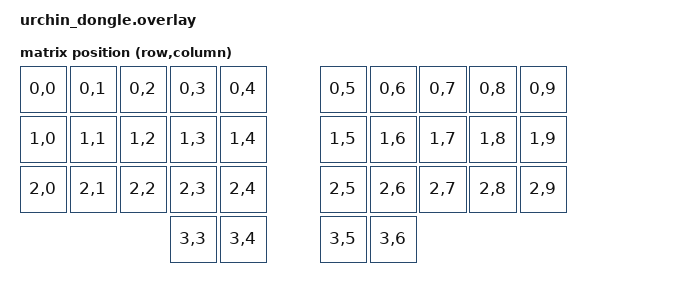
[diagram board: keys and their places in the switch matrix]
#include <dt-bindings/zmk/matrix_transform.h>
#include <physical_layouts.dtsi>

/ {
    chosen {
        zmk,kscan = &mock_kscan;
        zmk,physical-layout = &physical_layout0; // New item added
    };

    mock_kscan: mock_kscan_0 {
        compatible = "zmk,kscan-mock";
        columns = <0>;
        rows = <0>;
        events = <0>;
    };

    // --- START OF NEW CODE FOR POOR MAN'S LED INDICATOR ---
    leds {
        compatible = "gpio-leds";
        user_led: led_0 {
            // This is the pin that the indicator library will toggle.
            gpios = <&gpio0 15 GPIO_ACTIVE_HIGH>;
            label = "User LED";
        };
    };

    aliases {
        // This is the specific alias the indicator code looks for.
        indicator-led = &user_led;
    };
    // --- END OF NEW CODE ---

    default_transform: keymap_transform_0 {
        compatible = "zmk,matrix-transform";
        columns = <10>;
        rows = <4>;

        map = <
            RC(0,0)     RC(0,1)     RC(0,2)     RC(0,3)     RC(0,4)             RC(0,5)     RC(0,6)     RC(0,7)     RC(0,8 )     RC(0,9)
            RC(1,0)     RC(1,1)     RC(1,2)     RC(1,3)     RC(1,4)             RC(1,5)     RC(1,6)     RC(1,7)     RC(1,8)     RC(1,9)
            RC(2,0)     RC(2,1)     RC(2,2)     RC(2,3)     RC(2,4)             RC(2,5)     RC(2,6)     RC(2,7)     RC(2,8)     RC(2,9)
                                                            RC(3,3)     RC(3,4)             RC(3,5)     RC(3,6)
        >;
    };

    physical_layout0: physical_layout_0 {
        compatible = "zmk,physical-layout";
        display-name = "Default Layout";
        transform = <&default_transform>;

        keys    //                  w   h    x    y      rot    rx    ry
            = <&key_physical_attrs 100 100    0   95        0      0      0>
            , <&key_physical_attrs 100 100  100   32        0      0      0>
            // ... (rest of your physical layout) ...
    };
};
